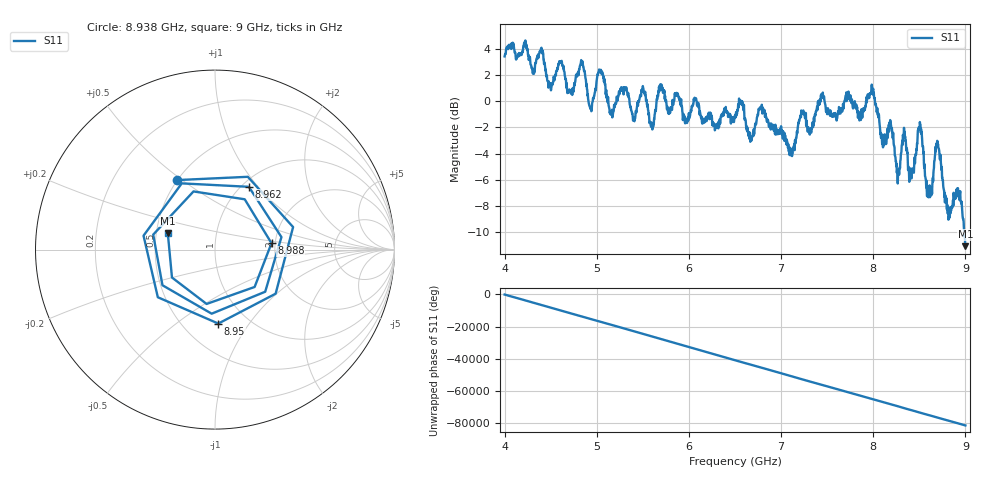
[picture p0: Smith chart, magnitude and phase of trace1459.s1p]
! Created with skrf 1.8.0 (http://scikit-rf.org).
# Hz S RI R 50.0
!freq ReS11 ImS11
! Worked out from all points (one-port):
!   1601 points, 4 GHz to 9 GHz, reference 50 ohm
!   lowest |S11| = -11.1 dB at 9 GHz (marker M1), VSWR 1.77, Z = 28.7 + j5.76 ohm
!   |S11| at or under -10 dB: 8.988125 GHz to end of sweep
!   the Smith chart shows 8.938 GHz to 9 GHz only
!   S11 on the Smith chart (normalised r, x): 8.938 GHz: 0.50, +0.48; 8.95 GHz: 0.73, -0.73; 8.962 GHz: 1.08, +0.90; 8.988 GHz: 1.91, +0.15; 9 GHz: 0.57, +0.12
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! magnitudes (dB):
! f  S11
! 4 GHz  3.4
! 4.625 GHz  2.7
! 4.709 GHz  0.8
! 4.844 GHz  3.1
! 4.931 GHz  -0.6
! 5.034 GHz  2.3
! 5.156 GHz  -0.8
! 5.25 GHz  0.8
! 5.594 GHz  -1.6
! 5.691 GHz  1.3
! 5.875 GHz  0.4
! 6.5 GHz  -1.2
! 7.125 GHz  -3.9
! 7.231 GHz  -0.8
! 7.75 GHz  0.0
! 7.991 GHz  0.9
! 8.266 GHz  -6.3
! 8.331 GHz  -2.5
! 8.375 GHz  -4.7
! 8.506 GHz  -1.6
! 8.606 GHz  -7.2
! 8.694 GHz  -3.0
! 8.812 GHz  -8.1
! 8.938 GHz  -7.1
! 8.95 GHz  -7.7
! 8.962 GHz  -8.0
! 8.988 GHz  -10.0
! 9 GHz  -11.1
